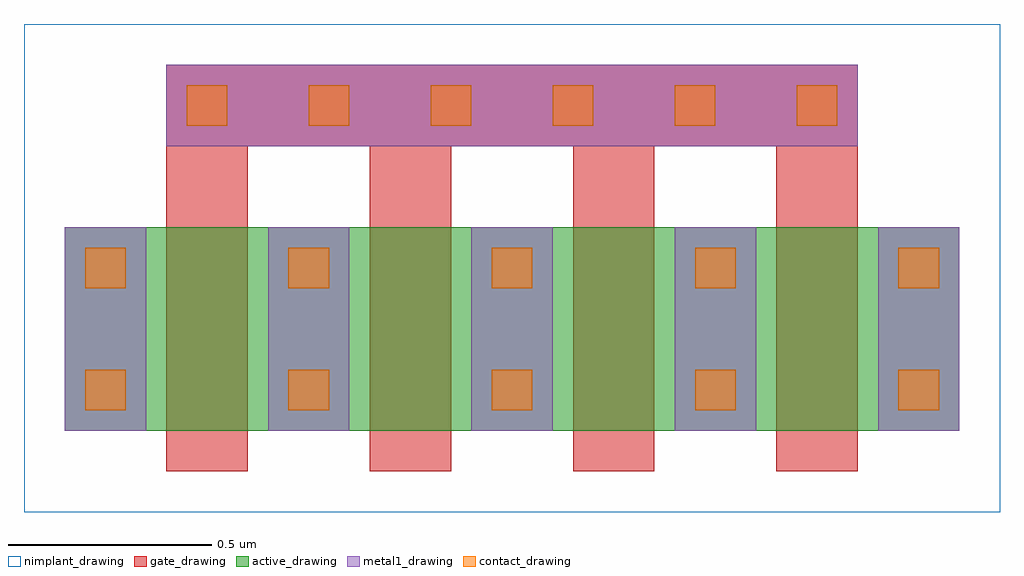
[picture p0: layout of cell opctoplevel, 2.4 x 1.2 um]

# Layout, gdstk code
import gdstk
lib = gdstk.Library(unit=1e-6, precision=1e-09)
def R(c, l, rs):  # rectangles x0, y0, x1, y1
    for r in rs: c.add(gdstk.rectangle(r[:2], r[2:], *l))
def A(c, l, x, y, w, h, nx, ny, dx, dy):  # array of equal rectangles
    R(c, l, [(x+i*dx, y+j*dy, x+i*dx+w, y+j*dy+h) for i in range(nx) for j in range(ny)])
active_drawing = (1, 0)
nimplant_drawing = (5, 0)
gate_drawing = (6, 0)
contact_drawing = (7, 0)
metal1_drawing = (8, 0)

opctoplevel = lib.new_cell('opctoplevel')
R(opctoplevel, active_drawing, [(-0.25,0,1.95,0.5)])
R(opctoplevel, nimplant_drawing, [(-0.35,-0.2,2.05,1)])
A(opctoplevel, gate_drawing, 0, -0.1, 0.2, 1, 4, 1, 0.5, 0)
R(opctoplevel, gate_drawing, [(0,0.7,1.7,0.9)])
A(opctoplevel, contact_drawing, -0.2, 0.05, 0.1, 0.1, 5, 2, 0.5, 0.3)
A(opctoplevel, contact_drawing, 0.05, 0.75, 0.1, 0.1, 6, 1, 0.3, 0)
A(opctoplevel, metal1_drawing, -0.25, 0, 0.2, 0.5, 5, 1, 0.5, 0)
R(opctoplevel, metal1_drawing, [(0,0.7,1.7,0.9)])

lib.write_gds('opctoplevel.gds')
